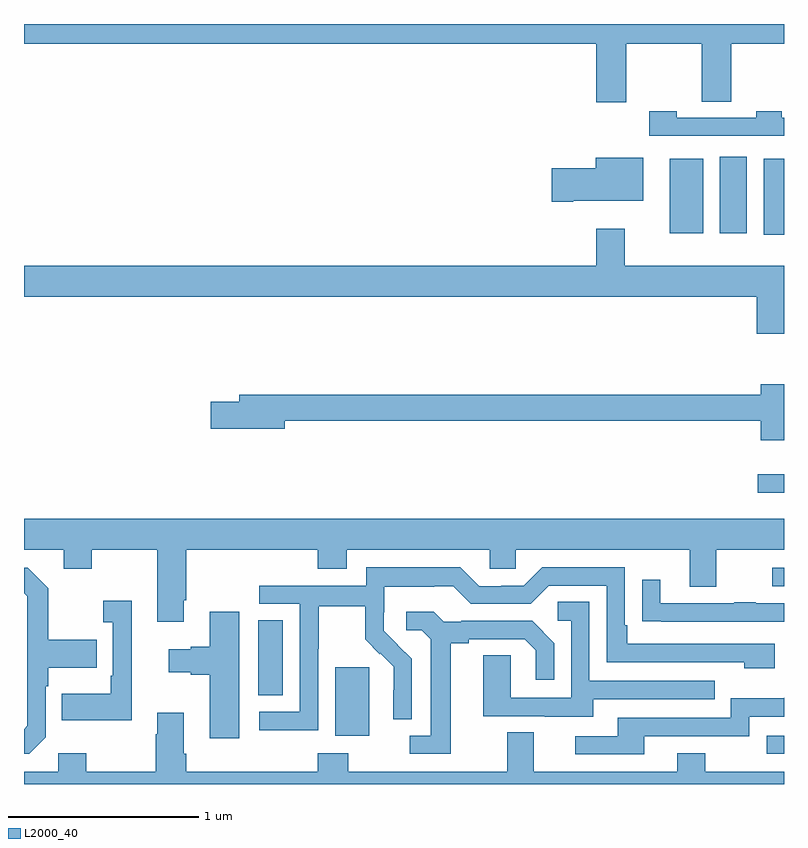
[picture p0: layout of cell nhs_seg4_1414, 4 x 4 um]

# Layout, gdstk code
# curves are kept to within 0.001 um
import gdstk
lib = gdstk.Library(unit=1e-6, precision=1e-09)
def R(c, l, rs):  # rectangles x0, y0, x1, y1
    for r in rs: c.add(gdstk.rectangle(r[:2], r[2:], *l))
def P(c, l, *ps):  # polygons
    for p in ps: c.add(gdstk.Polygon(p, *l))
L2000_40 = (2000, 40)

nhs_seg4_1414 = lib.new_cell('nhs_seg4_1414')
R(nhs_seg4_1414, L2000_40, [(186.909,817.059,187,817.155), (184.637,817.154,184.816,817.515), (184.232,817.366,184.363,817.763), (186.939,817.941,187,818.037), (186.861,818.432,187,818.529), (186.893,819.792,187,820.192), (186.398,819.8,186.574,820.192), (186.662,819.8,186.805,820.201)])
P(nhs_seg4_1414, L2000_40, [(186.171,820.796),(186.568,820.796),(186.568,820.492),(186.722,820.492),(186.722,820.796),(187,820.796),(187,820.9),(183,820.9),(183,820.796),(186.011,820.796),(186.011,820.488),(186.171,820.488)],
  [(187,820.407),(186.987,820.407),(186.987,820.44),(186.855,820.44),(186.855,820.407),(186.435,820.407),(186.435,820.44),(186.291,820.44),(186.291,820.311),(187,820.311)],
  [(185.89,819.971),(186.259,819.971),(186.259,820.195),(186.008,820.195),(186.008,820.142),(185.778,820.142),(185.778,819.964),(185.89,819.964)],
  [(187,819.628),(186.163,819.628),(186.163,819.823),(186.011,819.823),(186.011,819.628),(183,819.628),(183,819.464),(186.857,819.464),(186.857,819.27),(187,819.27)],
  [(187,819.004),(186.878,819.004),(186.878,818.948),(184.133,818.948),(184.133,818.912),(183.984,818.912),(183.984,818.77),(184.372,818.77),(184.372,818.812),(186.878,818.812),(186.878,818.708),(187,818.708)],
  [(183.841,817.867),(183.854,817.867),(183.854,818.132),(184.547,818.132),(184.547,818.033),(184.699,818.033),(184.699,818.132),(185.451,818.132),(185.451,818.034),(185.589,818.034),(185.589,818.132),(186.503,818.132),(186.503,817.938),(186.643,817.938),(186.643,818.132),(187,818.132),(187,818.296),(183,818.296),(183,818.132),(183.209,818.132),(183.209,818.033),(183.357,818.033),(183.357,818.132),(183.701,818.132),(183.701,817.755),(183.841,817.755)],
  [(184.548,817.612),(184.551,817.612),(184.551,817.836),(184.795,817.836),(184.795,817.661),(184.872,817.584),(184.875,817.587),(184.946,817.517),(184.946,817.394),(184.944,817.394),(184.944,817.24),(185.04,817.24),(185.04,817.558),(184.894,817.706),(184.894,817.803),(184.896,817.803),(184.896,817.937),(185.159,817.937),(185.159,817.941),(185.259,817.941),(185.352,817.848),(185.667,817.848),(185.763,817.944),(186.066,817.944),(186.066,817.542),(186.791,817.542),(186.791,817.508),(186.952,817.508),(186.952,817.638),(186.175,817.638),(186.175,817.735),(186.162,817.735),(186.162,818.04),(185.727,818.04),(185.631,817.944),(185.513,817.944),(185.513,817.941),(185.397,817.941),(185.297,818.041),(184.8,818.041),(184.8,817.944),(184.239,817.944),(184.239,817.848),(184.452,817.848),(184.452,817.281),(184.239,817.281),(184.239,817.183),(184.548,817.183)],
  [(183.114,817.146),(183.114,817.415),(183.127,817.415),(183.127,817.511),(183.383,817.511),(183.383,817.659),(183.127,817.659),(183.127,817.931),(183.021,818.037),(183,818.037),(183,817.905),(183.018,817.887),(183.018,817.206),(183,817.188),(183,817.059),(183.027,817.059)],
  [(187,817.851),(186.851,817.851),(186.851,817.856),(186.739,817.856),(186.739,817.851),(186.349,817.851),(186.349,817.975),(186.253,817.975),(186.253,817.756),(186.355,817.756),(186.355,817.755),(187,817.755)],
  [(183.566,817.864),(183.417,817.864),(183.417,817.751),(183.468,817.751),(183.468,817.471),(183.456,817.471),(183.456,817.375),(183.199,817.375),(183.199,817.235),(183.566,817.235)],
  [(185.995,817.347),(186.635,817.347),(186.635,817.443),(185.976,817.443),(185.976,817.859),(185.808,817.859),(185.808,817.758),(185.88,817.758),(185.88,817.353),(185.562,817.353),(185.562,817.577),(185.417,817.577),(185.417,817.257),(185.741,817.257),(185.741,817.253),(185.995,817.253)],
  [(185.245,817.64),(185.341,817.64),(185.341,817.662),(185.636,817.662),(185.693,817.605),(185.693,817.449),(185.79,817.449),(185.79,817.642),(185.674,817.758),(185.302,817.758),(185.302,817.755),(185.208,817.755),(185.156,817.807),(185.013,817.807),(185.013,817.71),(185.094,817.71),(185.141,817.663),(185.141,817.155),(185.031,817.155),(185.031,817.059),(185.245,817.059)],
  [(184.132,817.807),(183.977,817.807),(183.977,817.622),(183.878,817.622),(183.878,817.609),(183.762,817.609),(183.762,817.487),(183.878,817.487),(183.878,817.475),(183.977,817.475),(183.977,817.14),(184.132,817.14)],
  [(186.265,817.152),(186.816,817.152),(186.816,817.254),(187,817.254),(187,817.354),(186.997,817.351),(186.72,817.351),(186.72,817.248),(186.125,817.248),(186.125,817.152),(185.901,817.152),(185.901,817.056),(186.265,817.056)],
  [(187,816.964),(186.585,816.964),(186.585,817.063),(186.437,817.063),(186.437,816.964),(185.683,816.964),(185.683,817.172),(185.543,817.172),(185.543,816.964),(184.707,816.964),(184.707,817.063),(184.547,817.063),(184.547,816.964),(183.854,816.964),(183.854,817.06),(183.841,817.06),(183.841,817.276),(183.701,817.276),(183.701,817.163),(183.694,817.163),(183.694,816.964),(183.327,816.964),(183.327,817.063),(183.18,817.063),(183.18,816.964),(183,816.964),(183,816.9),(187,816.9)])

lib.write_gds('nhs_seg4_1414.gds')
